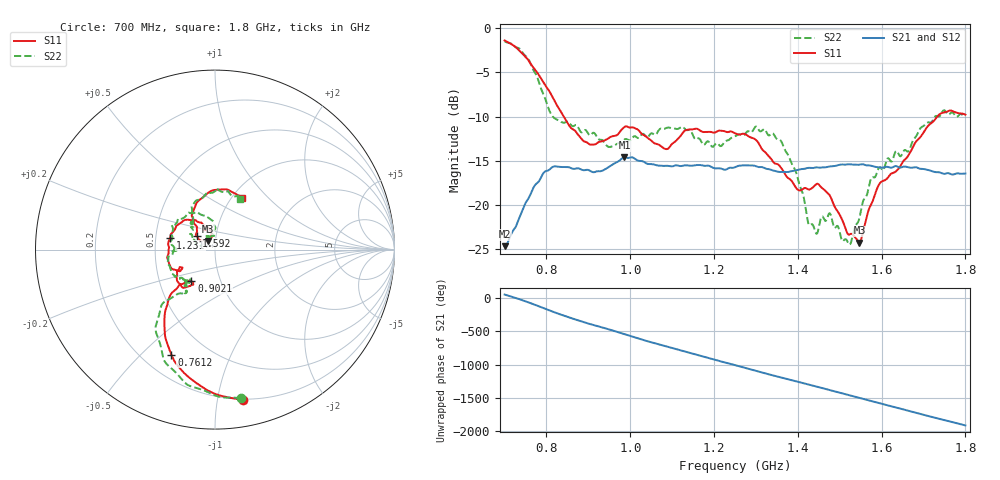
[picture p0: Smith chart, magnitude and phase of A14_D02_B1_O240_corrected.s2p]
! Created with skrf 1.9.0 (http://scikit-rf.org).
# Hz S RI R 50.0
!freq ReS11 ImS11 ReS21 ImS21 ReS12 ImS12 ReS22 ImS22
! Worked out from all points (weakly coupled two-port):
!   1601 points, 700 MHz to 1.8 GHz, reference 50 ohm
!   highest |S21| = -14.61 dB at 986 MHz (marker M1); lowest = -24.7 dB at 700.7 MHz (marker M2)
!   lowest |S11| = -24.3 dB at 1.547 GHz (marker M3), VSWR 1.13, Z = 46.2 + j4.47 ohm
!   |S11| at or under -10 dB: 841.1 MHz to 1.733 GHz (891.7 MHz wide, 69.3 % of centre)
!   |S22| runs from -24.5 to -1.5 dB; largest |S21 - S12| = 0.0035
!   S11 on the Smith chart (normalised r, x): 700 MHz: 0.20, -1.19; 761.2 MHz: 0.32, -0.62; 902.1 MHz: 0.73, -0.27; 1.231 GHz: 0.60, +0.09; 1.592 GHz: 0.80, +0.13; 1.8 GHz: 1.12, +0.71
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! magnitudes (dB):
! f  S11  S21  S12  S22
! 700 MHz  -1.4  -24.7  -24.4  -1.5
! 700.7 MHz  -1.4  -24.7  -24.4  -1.5
! 761.2 MHz  -4.0  -18.9  -18.8  -3.9
! 814.1 MHz  -7.8  -15.7  -15.8  -10.0
! 883.6 MHz  -12.5  -16.0  -15.9  -11.8
! 902.1 MHz  -13.1  -16.1  -16.1  -12.1
! 949.6 MHz  -12.4  -15.7  -15.7  -13.4
! 986 MHz  -11.2  -14.6  -14.7  -12.6
! 1.067 GHz  -13.2  -15.6  -15.5  -11.6
! 1.231 GHz  -11.8  -16.0  -15.9  -12.7
! 1.25 GHz  -11.9  -15.7  -15.7  -12.2
! 1.3 GHz  -12.7  -15.6  -15.6  -11.1
! 1.359 GHz  -15.7  -16.3  -16.2  -12.7
! 1.401 GHz  -18.3  -16.0  -16.0  -17.1
! 1.434 GHz  -18.1  -15.8  -15.8  -22.2
! 1.476 GHz  -18.9  -15.6  -15.7  -20.9
! 1.523 GHz  -23.4  -15.4  -15.4  -24.5
! 1.547 GHz  -24.3  -15.4  -15.4  -21.5
! 1.592 GHz  -17.8  -15.8  -15.7  -15.9
! 1.617 GHz  -16.8  -15.7  -15.7  -14.8
! 1.737 GHz  -9.8  -16.3  -16.4  -10.0
! 1.8 GHz  -9.8  -16.4  -16.4  -10.1
